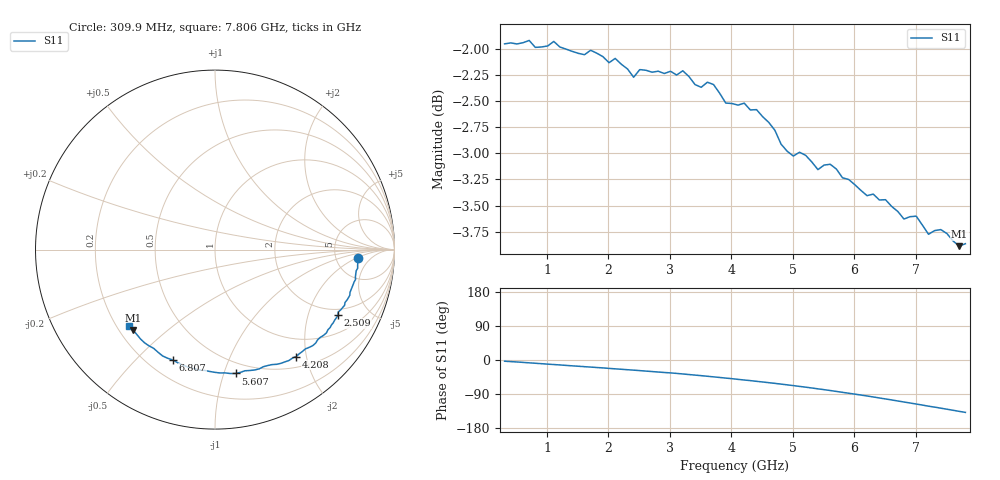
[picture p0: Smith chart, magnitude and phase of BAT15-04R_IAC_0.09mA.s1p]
! Infineon Technologies  Discrete & RF Semiconductors
! BAT15-04R
! IAC = 0.09 mA
! One-Port S-Parameters
# Hz  S  MA  R  50
!f  S11
!Hz  Mag  Ang
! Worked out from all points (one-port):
!   76 points, 309.9 MHz to 7.806 GHz, reference 50 ohm
!   lowest |S11| = -3.9 dB at 7.706 GHz (marker M1), VSWR 4.54, Z = 12.7 - j19.3 ohm
!   |S11| at or under -10 dB: nowhere
!   S11 on the Smith chart (normalised r, x): 309.9 MHz: 8.42, -2.06; 2.509 GHz: 1.72, -3.15; 4.208 GHz: 0.67, -1.82; 5.607 GHz: 0.41, -1.10; 6.807 GHz: 0.30, -0.65; 7.806 GHz: 0.25, -0.36
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3.0985e8  0.7985 -3.2
7.0965e8  0.8015 -7.5
8.096e8  0.7954 -8.6
1.10945e9  0.8007 -12.0
1.30935e9  0.7939 -14.2
1.70915e9  0.7929 -18.7
2.2089e9  0.7808 -24.5
2.4088e9  0.7697 -26.8
2.50875e9  0.7762 -28.0
3.2084e9  0.7752 -36.8
3.70815e9  0.7636 -44.5
3.90805e9  0.7481 -47.7
4.10795e9  0.7465 -51.1
4.2079e9  0.7481 -52.8
4.6077e9  0.7324 -59.9
5.0075e9  0.7058 -67.6
5.10745e9  0.7087 -69.7
5.4073e9  0.6953 -76.1
5.6072e9  0.6994 -80.5
6.007e9  0.6839 -90.0
6.50675e9  0.6727 -102.8
6.8066e9  0.6585 -110.9
6.90655e9  0.6602 -113.5
7.0065e9  0.6606 -116.2
7.2064e9  0.6476 -121.9
7.4063e9  0.6509 -127.1
7.70615e9  0.6391 -135.5
7.8061e9  0.6409 -138.2
